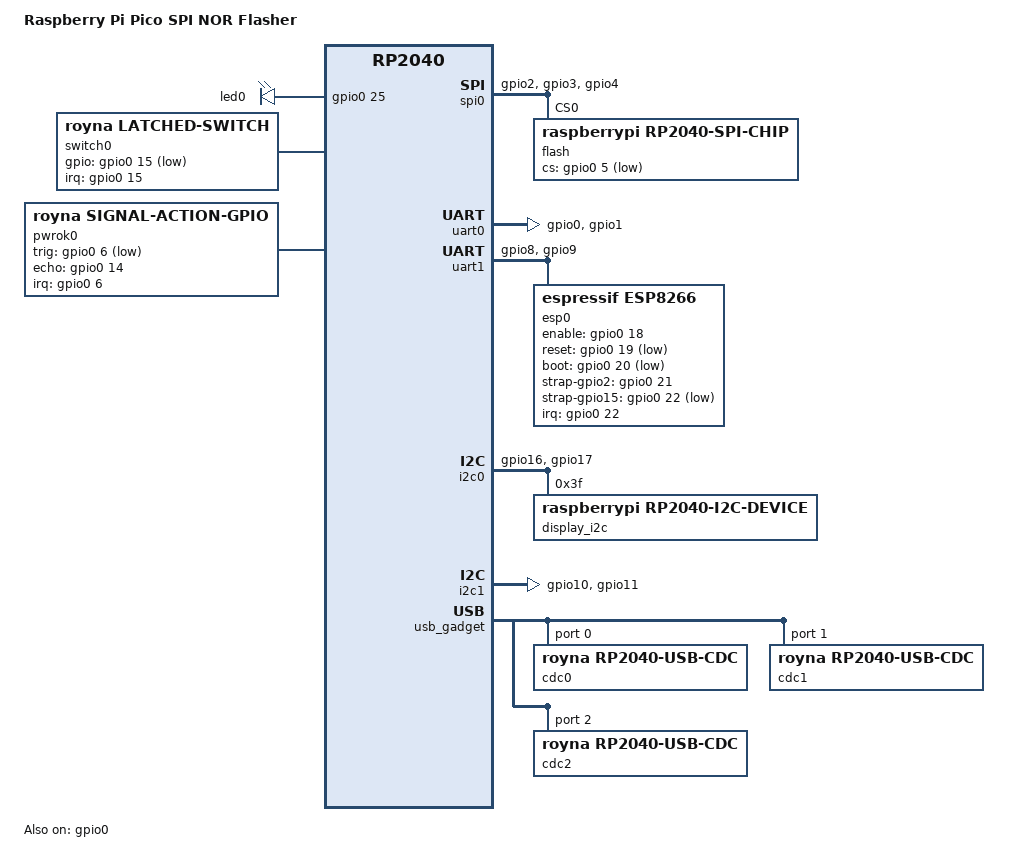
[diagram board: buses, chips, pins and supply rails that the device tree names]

/ {
    model = "Raspberry Pi Pico SPI NOR Flasher";
    compatible = "royna,spi-nor-flasher",
                 "raspberrypi,pico",
                 "raspberrypi,rp2040";

    #address-cells = <1>;
    #size-cells = <1>;

    aliases {
        spi0 = &spi0;
        serial0 = &uart0;
        serial1 = &uart1;
        wlan0 = &esp0;
        serprog0 = &serprog0;
        passthru0 = &passthru0;
        led0 = &led0;
        display0 = &display0;
        pwrok0 = &pwrok0;
        switch0 = &switch0;
    };

    chosen {
        stdout-path = "serial0:115200n8";
    };

    soc0: soc {
        compatible = "simple-bus";

        #address-cells = <1>;
        #size-cells = <1>;
        ranges;

        pinctrl: pinctrl@40014000 {
            compatible = "royna,rp2040-pinctrl";
            reg = <0x40014000 0x4000>;

            uart0_default: uart0-default {
                pins = "gpio0", "gpio1";
                function = "uart";
            };

            uart1_default: uart1-default {
                pins = "gpio8", "gpio9";
                function = "uart";
            };

            spi0_default: spi0-default {
                pins = "gpio2", "gpio3", "gpio4"; // SCK MOSI MISO
                function = "spi";
            };

            spi1_default: spi1-default {
                pins = "gpio14", "gpio15", "gpio16"; // SCK MOSI MISO
                function = "spi";
            };

            i2c0_default: i2c0-default {
                pins = "gpio16", "gpio17"; // SDA SCL
                function = "i2c";
            };

            i2c1_default: i2c1-default {
                pins = "gpio10", "gpio11"; // SDA SCL
                function = "i2c";
            };
        };

        gpio0: gpio@d0000000 {
            compatible = "royna,rp2040-sio-gpio";
            reg = <0xd0000000 0x1000>,<0x40014000 0x4000>;
            reg-names = "sio", "io-bank0";

            gpio-controller;
            #gpio-cells = <2>;

            interrupt-controller;
            #interrupt-cells = <2>;

            status = "okay";
            //<&pinctrl GPIO_OFFSET PINCTRL_PIN_OFFSET COUNT>
            gpio-ranges = <&pinctrl 0 0 30>;
        };

        spi0: spi@4003c000 {
            compatible = "raspberrypi,rp2040-spi-master";
            reg = <0x4003c000 0x4000>;

            pinctrl-names = "default";
            pinctrl-0 = <&spi0_default>;
            default-baud = <10000000>;

            #address-cells = <1>;
            #size-cells = <0>;

            flash: flash@0 {
                compatible = "raspberrypi,rp2040-spi-chip";
                reg = <0>;
                default-baud = <10000000>;
                cs-gpio = <&gpio0 5 1>;
                empty-tx-byte = <0x00>;

                status = "okay";
            };
        };
        
        spi1: spi@40040000 {
            compatible = "raspberrypi,rp2040-spi-master";
            reg = <0x40040000 0x4000>;

            pinctrl-names = "default";
            pinctrl-0 = <&spi1_default>;
            default-baud = <10000000>;

            #address-cells = <1>;
            #size-cells = <0>;

            status = "disabled";
        };

        uart0: serial@40034000 {
            compatible = "raspberrypi,rp2040-uart";
            reg = <0x40034000 0x4000>;

            default-baud = <115200>;

            pinctrl-names = "default";
            pinctrl-0 = <&uart0_default>;

            status = "okay";
        };

        uart1: serial@40038000 {
            compatible = "raspberrypi,rp2040-uart";
            reg = <0x40038000 0x4000>;

            default-baud = <74880>;

            pinctrl-names = "default";
            pinctrl-0 = <&uart1_default>;

            status = "okay";

            esp0: wifi {
                compatible = "espressif,esp8266";

                enable-gpios = <&gpio0 18 0>;   // pulldown 10k by esp board
                reset-gpios = <&gpio0 19 1>;  // pullup 10k by my board
                boot-gpios = <&gpio0 20 1>;// pullup 10k by my board

                /* ESP8266 GPIO2 / GPIO15 boot straps */
                strap-gpio2-gpios = <&gpio0 21 0>; // pullup 10k by my board
                strap-gpio15-gpios = <&gpio0 22 1>; // pulldown 10k by esp board

                // HIGH=4 LOW=8 FALLING=2 RISING=1
                interrupts-extended = <&gpio0 22 1>;

                bootmode-source = <&switch0>;
                autoboot = <1>;

                status = "okay";
            };
        };

        i2c0: i2c@40044000 {
            compatible = "raspberrypi,rp2040-i2c-controller";
            reg = <0x40044000 0x0100>;

            pinctrl-names = "default";
            pinctrl-0 = <&i2c0_default>;

            initial-clock-frequency = <400000>; // 400kHz

            #address-cells = <1>;
            #size-cells = <0>;

            display_i2c: display@3f {
                compatible = "raspberrypi,rp2040-i2c-device";
                reg = <0x3F>;
            };
        };

        i2c1: i2c@40048000 {
            compatible = "raspberrypi,rp2040-i2c-controller";
            reg = <0x40048000 0x0100>;

            pinctrl-names = "default";
            pinctrl-0 = <&i2c1_default>;

            initial-clock-frequency = <400000>; // 400kHz

            #address-cells = <1>;
            #size-cells = <0>;
        };

        usb0: usb@50110000 {
            compatible = "royna,rp2040-usb";
            reg = <0x50110000 0x1000>,
                  <0x50100000 0x1000>;
            reg-names = "regs", "dpram";

            dr_mode = "peripheral";
            status = "disabled";
        };
    };

    leds {
        compatible = "gpio-leds";

        led0: led-0 {
            gpios = <&gpio0 25 0>;
            default-state = "off";
        };
    };

    switch0: esp-bootmode-switch {
        compatible = "royna,latched-switch";

        gpios = <&gpio0 15 1>;
        // Mode 0=External 1=Need internal pullup 2=Need internal pulldown
        mode = <0>;
        // HIGH=4 LOW=8 FALLING=2 RISING=1
        interrupts-extended = <&gpio0 15 3>;
    };

    // Level shifter: used by display i2c's 5v logic shift.
    // When GP9 is pulled LOW (from default pullup), we put GP19
    // (Logic shifter's OE) HIGH to enable i2c voltage translation.
    // Only then, the display can be ready.
    pwrok0: signal-action-gpio {
        compatible = "royna,signal-action-gpio";

        trig-gpios = <&gpio0 6 1>;
        echo-gpios = <&gpio0 14 0>;
        interrupts-extended = <&gpio0 6 3>; // FALLING/RISING

        display0: display {
            compatible = "royna,pcf8574t-16x2-lcd";
            i2c-dev = <&display_i2c>;
            display-width = <16>;
            display-height = <2>;
            init-commands = <
               0x3 5
               0x3 1
               0x3 1
               0x2 0>;
        };
    };

    fw: firmware {
        usb_gadget: usb-gadget {
            compatible = "royna,rp2040-usb-gadget";
            controller = <&usb0>;

            #address-cells = <1>;
            #size-cells = <0>;

            cdc0: serial@0 {
                compatible = "royna,rp2040-usb-cdc";
                reg = <0>;
                status = "okay";
            };

            cdc1: serial@1 {
                compatible = "royna,rp2040-usb-cdc";
                reg = <1>;
                royna,stdio;
                status = "okay";
            };

            cdc2: serial@2 {
                compatible = "royna,rp2040-usb-cdc";
                reg = <2>;
                status = "okay";
            };
        };

        serprog0: serprog {
            compatible = "royna,serprog";

            spi-chip = <&flash>;
            usb-cdc = <&cdc0>;

            status = "okay";
        };

        passthru0: passthru {
            compatible = "royna,passthru";

            usb-cdc = <&cdc2>;
            uart = <&uart1>;
        };
    };
};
